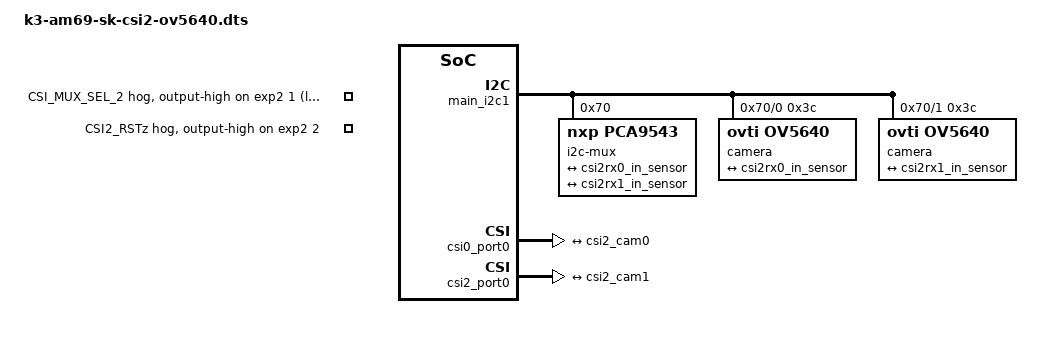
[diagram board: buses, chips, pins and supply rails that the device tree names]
// SPDX-License-Identifier: GPL-2.0
/**
 * DT Overlay for OV5640 Camera on I2C bus interfaced to CSI2 with AM69 SK board.
 *
 * Copyright (C) 2022 Texas Instruments Incorporated - https://www.ti.com/
 */

/dts-v1/;
/plugin/;

#include <dt-bindings/gpio/gpio.h>
#include <dt-bindings/interrupt-controller/irq.h>
#include <dt-bindings/pinctrl/k3.h>

&wkup_pmx0 {
	csi2_exp_refclk_pins_default: csi2-exp-refclk-pins-default {
		pinctrl-single,pins = <
			J784S4_IOPAD(0x0ec, PIN_OUTPUT, 6) /* (M38) WKUP_GPIO0_11.MCU_CLKOUT0 */
		>;
	};
};

&k3_clks {
	pinctrl-names = "default";
	pinctrl-0 = <&csi2_exp_refclk_pins_default>;
};

&exp2 {
	p01-hog{
		/* P01 - CSI_MUX_SEL_2 */
		gpio-hog;
		gpios = <1 GPIO_ACTIVE_LOW>;
		output-high;
		line-name = "CSI_MUX_SEL_2";
	};
	p02-hog{
		/* P02 - CSI2_RSTz */
		gpio-hog;
		gpios = <2 GPIO_ACTIVE_HIGH>;
		output-high;
		line-name = "CSI2_RSTz";
	};
};

&main_i2c1 {
	#address-cells = <1>;
	#size-cells = <0>;

	i2c-mux@70 {
		compatible = "nxp,pca9543";
		#address-cells = <1>;
		#size-cells = <0>;
		reg = <0x70>;

		i2c-alias-pool = /bits/ 16 <0x3c 0x3d>;

		/* CAM0 I2C */
		i2c@0 {
			#address-cells = <1>;
			#size-cells = <0>;
			reg = <0>;

			camera@3c {
				compatible = "ovti,ov5640";
				reg = <0x3c>;

				/* MCU_CLKOUT0 WKUP_GPIO0_11 (M38) */
				clocks = <&k3_clks 157 174>;
				clock-names = "xclk";

				/* HSDIV4_16FFT_MCU_2_HSDIVOUT0_CLK10 -> REFCLK2 */
				assigned-clocks = <&k3_clks 157 174>;
				assigned-clock-parents = <&k3_clks 157 176>;
				assigned-clock-rates = <25000000>;

				port {
					csi2_cam0: endpoint {
						remote-endpoint = <&csi2rx0_in_sensor>;
						clock-lanes = <0>;
						data-lanes = <1 2>;
					};
				};
			};
		};
		/* CAM1 I2C */
		i2c@1 {
			#address-cells = <1>;
			#size-cells = <0>;
			reg = <1>;

			camera@3c {
				compatible = "ovti,ov5640";
				reg = <0x3c>;

				/* MCU_CLKOUT0 WKUP_GPIO0_11 (M38) */
				clocks = <&k3_clks 157 174>;
				clock-names = "xclk";

				/* HSDIV4_16FFT_MCU_2_HSDIVOUT0_CLK10 -> REFCLK2 */
				assigned-clocks = <&k3_clks 157 174>;
				assigned-clock-parents = <&k3_clks 157 176>;
				assigned-clock-rates = <25000000>;

				port {
					csi2_cam1: endpoint {
						remote-endpoint = <&csi2rx1_in_sensor>;
						clock-lanes = <0>;
						data-lanes = <1 2>;
					};
				};
			};
		};
	};
};

&csi0_port0 {
	status = "okay";

	csi2rx0_in_sensor: endpoint {
		remote-endpoint = <&csi2_cam0>;
		bus-type = <4>; /* CSI2 DPHY. */
		clock-lanes = <0>;
		data-lanes = <1 2>;
	};
};

&csi2_port0 {
	status = "okay";

	csi2rx1_in_sensor: endpoint {
		remote-endpoint = <&csi2_cam1>;
		bus-type = <4>; /* CSI2 DPHY. */
		clock-lanes = <0>;
		data-lanes = <1 2>;
	};
};
